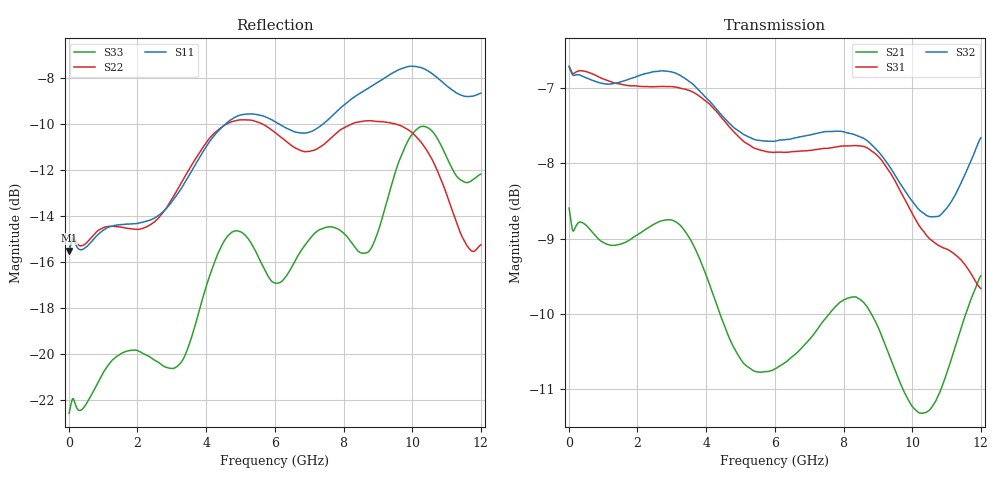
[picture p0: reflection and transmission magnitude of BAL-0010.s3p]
! MARKI MICROWAVE INC.
! Email:  info@markimicrowave.com  Phone:  408-778-4200
! Model Number:  BAL-0010  Date:  04/12
! Filename:		BAL-0010.S3P  Version: 1.0
! Description:  3-port S-parameter data for Balun BAL-0010
! Frequency Range: 	10 MHz to 12 GHz
! Port Configuration:	PORT 1: OUTPUT (0 DEGREE), PORT 2: OUTPUT (180 DEGREE), PORT 3: COMMON
! S3P File: Measurements: Mag<S11> Ang<S11> Mag<S12> Ang<S12> Mag<S13> Ang<S13>! row 1
!  Mag<S21> Ang<S21> Mag<S22> Ang<S22> Mag<S23> Ang<S23>! row 2
!  Mag<S31> Ang<S31> Mag<S32> Ang<S32> Mag<S33> Ang<S33>! row 3
# Hz S  dB  R 50
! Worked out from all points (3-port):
!   801 points, 10 MHz to 12 GHz, reference 50 ohm
!   strongest paths, dB at 10 MHz, 3.007 GHz, 6.005 GHz, 9.002 GHz, 12 GHz:
!     S32: -6.7, -6.8, -7.7, -7.8, -7.7
!     S31: -6.7, -7.0, -7.9, -7.9, -9.7
!     S21: -8.6, -8.8, -10.7, -10.2, -9.5
!   lowest |S11| = -15.5 dB at 10 MHz (marker M1), VSWR 1.40, Z = 35.7 + j1.85 ohm
!   |S11| at or under -10 dB: start of sweep to 4.569 GHz; 6.117 GHz to 7.414 GHz (1.298 GHz wide, 19.2 % of centre)
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1e7  -15.50 171.4  -8.58 0.2  -6.69 -3.2
     -8.59 0.1  -15.52 172.2  -6.70 176.5
     -6.71 -1.9  -6.72 178.1  -22.56 167.2
1.733562e9  -14.35 112.9  -9.03 -99.9  -6.96 -172.4
            -9.03 -100.0  -14.54 106.0  -6.88 7.7
            -6.96 -172.5  -6.88 7.8  -19.85 -47.2
3.54705e9  -12.13 36.2  -9.00 150.0  -7.04 6.9
           -9.02 149.9  -11.87 26.3  -6.94 -175.5
           -7.04 6.9  -6.92 -175.3  -19.40 72.9
4.581188e9  -9.98 -23.9  -10.20 90.0  -7.46 -96.4
            -10.22 89.8  -10.02 -37.5  -7.44 81.6
            -7.46 -96.5  -7.42 81.7  -14.96 -73.9
6.005e9  -9.90 -107.9  -10.70 17.0  -7.84 125.4
         -10.73 16.8  -10.38 -123.0  -7.72 -56.7
         -7.85 125.4  -7.70 -56.5  -16.91 73.0
7.174025e9  -10.25 -159.4  -10.21 -46.5  -7.82 10.4
            -10.25 -46.7  -11.13 -174.7  -7.64 -171.8
            -7.82 10.4  -7.61 -171.6  -14.73 -92.2
8.133225e9  -9.04 156.8  -9.75 -103.3  -7.77 -85.3
            -9.79 -103.4  -10.08 140.5  -7.63 92.4
            -7.77 -85.3  -7.60 92.6  -14.95 155.5
9.467112e9  -7.76 85.2  -10.67 177.1  -8.21 138.7
            -10.71 177.0  -9.99 66.3  -8.17 -40.9
            -8.20 138.6  -8.13 -40.9  -12.30 -54.6
1.0801e10  -8.08 5.3  -11.01 112.4  -9.12 8.2
           -11.05 112.2  -12.28 -12.6  -8.74 -166.1
           -9.10 8.1  -8.70 -166.1  -10.82 121.3
1.2e10  -8.67 -50.2  -9.45 45.9  -9.68 -109.0
        -9.49 45.8  -15.25 -46.6  -7.71 81.5
        -9.66 -109.1  -7.66 81.5  -12.18 -73.5
